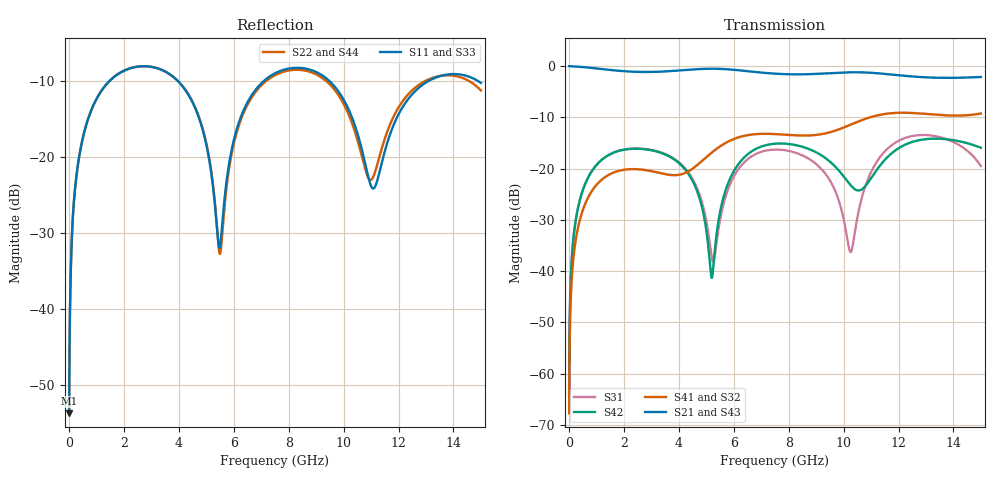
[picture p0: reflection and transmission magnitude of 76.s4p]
! Created with skrf 1.8.0 (http://scikit-rf.org).
# GHz S RI R 50.0
!freq ReS11 ImS11 ReS12 ImS12 ReS13 ImS13
! ReS14 ImS14
! ReS21 ImS21 ReS22 ImS22 ReS23 ImS23
! ReS24 ImS24
! ReS31 ImS31 ReS32 ImS32 ReS33 ImS33
! ReS34 ImS34
! ReS41 ImS41 ReS42 ImS42 ReS43 ImS43
! ReS44 ImS44
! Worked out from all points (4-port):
!   2499 points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, 5 MHz to 15 GHz, reference 50 ohm
!   strongest paths, dB at 5 MHz, 3.476 GHz, 7.19 GHz, 11.1 GHz, 15 GHz:
!     S21: 0.0, -1.0, -1.4, -1.3, -2.1
!     S43: 0.0, -1.0, -1.4, -1.3, -2.1
!     S41: -67.7, -21.1, -13.2, -9.8, -9.2
!     S32: -67.7, -21.1, -13.2, -9.8, -9.2
!     S42: -63.8, -17.2, -15.4, -21.1, -15.9
!     S31: -63.8, -17.1, -16.5, -19.7, -19.5
!   lowest |S11| = -53.8 dB at 5 MHz (marker M1), VSWR 1.00, Z = 50.2 + j0.125 ohm
!   |S11| at or under -10 dB: start of sweep to 1.491 GHz; 3.949 GHz to 7.112 GHz (3.163 GHz wide, 57.2 % of centre); 9.466 GHz to 13.12 GHz (3.653 GHz wide, 32.3 % of centre) (the widest 3 of 4)
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0.005  0.00163 0.00124  0.9983 -0.00318  8.17e-05 0.000639  -7.94e-05 -0.000402
       0.9983 -0.00318  0.00163 0.00124  -7.94e-05 -0.000402  8.17e-05 0.000639
       8.17e-05 0.000639  -7.94e-05 -0.000402  0.00163 0.00124  0.9983 -0.00318
       -7.94e-05 -0.000402  8.17e-05 0.000639  0.9983 -0.00318  0.00163 0.00124
0.3126303  0.0239 0.0818  0.9674 -0.1979  0.0109 0.038  -0.00902 -0.0236
           0.9674 -0.1979  0.0239 0.0818  -0.00902 -0.0236  0.0108 0.038
           0.0109 0.038  -0.00902 -0.0236  0.0239 0.0818  0.9674 -0.1979
           -0.00902 -0.0236  0.0108 0.038  0.9674 -0.1979  0.0239 0.0818
1.569404  0.2728 0.1784  0.544 -0.733  0.1283 0.0593  -0.09 -0.00526
          0.544 -0.733  0.2732 0.1781  -0.09 -0.00529  0.1271 0.0608
          0.1283 0.0593  -0.09 -0.00529  0.2728 0.1784  0.544 -0.7331
          -0.09 -0.00526  0.1271 0.0608  0.544 -0.7331  0.2732 0.178
5.358483  0.0268 -0.0282  -0.9316 -0.1404  -0.0106 0.014  -0.0188 0.1535
          -0.9316 -0.1404  0.0248 -0.0323  -0.0189 0.1535  0.0119 0.0175
          -0.0106 0.014  -0.0189 0.1535  0.0276 -0.0275  -0.9316 -0.1401
          -0.0188 0.1535  0.0119 0.0175  -0.9316 -0.1401  0.0239 -0.0318
8.534806  0.3793 -0.0386  0.0137 0.8315  0.1159 -0.0656  0.2015 -0.0596
          0.0137 0.8315  0.3684 -0.0308  0.201 -0.0586  0.1166 -0.1127
          0.1159 -0.0656  0.201 -0.0586  0.3815 -0.0424  0.0137 0.8305
          0.2015 -0.0596  0.1166 -0.1127  0.0137 0.8305  0.3706 -0.0273
11.28595  0.069 0.0324  0.8495 -0.00973  0.0541 0.1127  -0.0196 -0.3324
          0.8495 -0.00973  0.0829 0.0504  -0.0174 -0.3332  0.0067 0.1034
          0.0541 0.1127  -0.0174 -0.3332  0.0623 0.0287  0.8496 -0.00836
          -0.0196 -0.3324  0.0067 0.1034  0.8496 -0.00836  0.0897 0.046
15  0.2773 -0.1277  -0.322 -0.7133  0.0433 -0.0966  -0.2982 0.1731
    -0.322 -0.7133  0.2409 -0.1271  -0.2989 0.1722  -0.00635 -0.1597
    0.0433 -0.0966  -0.2989 0.1722  0.2795 -0.1259  -0.3215 -0.713
    -0.2982 0.1731  -0.00635 -0.1597  -0.3215 -0.713  0.2413 -0.1305
